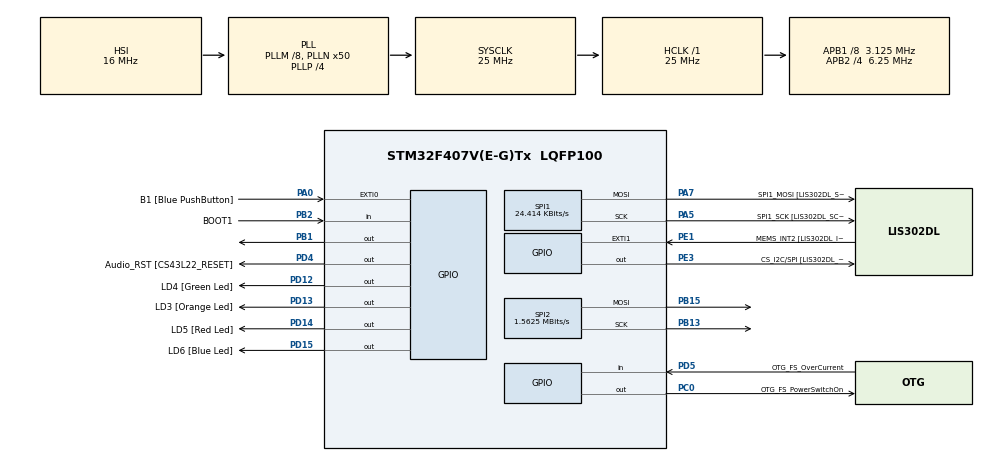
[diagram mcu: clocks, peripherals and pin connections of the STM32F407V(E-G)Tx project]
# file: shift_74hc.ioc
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Mcu.Family=STM32F4
Mcu.Name=STM32F407V(E-G)Tx
Mcu.Package=LQFP100
NVIC.PriorityGroup=NVIC_PRIORITYGROUP_0
NVIC.SPI1_IRQn=true\:0\:0\:false\:false\:true\:true
PA0-WKUP.GPIO_Label=B1 [Blue PushButton]
PA0-WKUP.GPIO_ModeDefaultEXTI=GPIO_MODE_EVT_RISING
PA0-WKUP.GPIO_PuPd=GPIO_NOPULL
PA0-WKUP.Signal=GPXTI0
PA10.GPIO_Label=OTG_FS_ID
PA10.GPIO_Mode=GPIO_MODE_AF_PP
PA10.GPIO_PuPd=GPIO_NOPULL
PA10.GPIO_Speed=GPIO_SPEED_FREQ_LOW
PA10.Signal=USB_OTG_FS_ID
PA11.GPIO_Label=OTG_FS_DM
PA11.GPIO_Mode=GPIO_MODE_AF_PP
PA11.GPIO_PuPd=GPIO_NOPULL
PA11.GPIO_Speed=GPIO_SPEED_FREQ_LOW
PA11.Signal=USB_OTG_FS_DM
PA12.GPIO_Label=OTG_FS_DP
PA12.GPIO_Mode=GPIO_MODE_AF_PP
PA12.GPIO_PuPd=GPIO_NOPULL
PA12.GPIO_Speed=GPIO_SPEED_FREQ_LOW
PA12.Signal=USB_OTG_FS_DP
PA13.GPIO_Label=SWDIO
PA13.Signal=SYS_JTMS-SWDIO
PA14.GPIO_Label=SWCLK
PA14.Signal=SYS_JTCK-SWCLK
PA4.GPIO_Label=I2S3_WS [CS43L22_LRCK]
PA4.GPIO_Mode=GPIO_MODE_AF_PP
PA4.GPIO_PuPd=GPIO_NOPULL
PA4.GPIO_Speed=GPIO_SPEED_FREQ_LOW
PA4.Signal=I2S3_WS
PA5.GPIO_Label=SPI1_SCK [LIS302DL_SCL/SPC]
PA5.GPIO_Mode=GPIO_MODE_AF_PP
PA5.GPIO_PuPd=GPIO_NOPULL
PA5.GPIO_Speed=GPIO_SPEED_FREQ_LOW
PA5.Mode=TX_Only_Simplex_Unidirect_Master
PA5.Signal=SPI1_SCK
PA6.GPIO_Label=SPI1_MISO [LIS302DL_SDO]
PA6.GPIO_Mode=GPIO_MODE_AF_PP
PA6.GPIO_PuPd=GPIO_NOPULL
PA6.GPIO_Speed=GPIO_SPEED_FREQ_LOW
PA6.Signal=SPI1_MISO
PA7.GPIO_Label=SPI1_MOSI [LIS302DL_SDA/SDI/SDO]
PA7.GPIO_Mode=GPIO_MODE_AF_PP
PA7.GPIO_PuPd=GPIO_NOPULL
PA7.GPIO_Speed=GPIO_SPEED_FREQ_LOW
PA7.Mode=TX_Only_Simplex_Unidirect_Master
PA7.Signal=SPI1_MOSI
PA9.GPIO_Label=VBUS_FS
PA9.GPIO_Mode=GPIO_MODE_INPUT
PA9.GPIO_PuPd=GPIO_NOPULL
PA9.Signal=USB_OTG_FS_VBUS
PB1.Signal=GPIO_Output
PB10.GPIO_Label=CLK_IN [MP45DT02_CLK]
PB10.GPIO_Mode=GPIO_MODE_AF_PP
PB10.GPIO_PuPd=GPIO_NOPULL
PB10.GPIO_Speed=GPIO_SPEED_FREQ_LOW
PB10.Signal=I2S2_CK
PB13.Mode=TX_Only_Simplex_Unidirect_Master
PB13.Signal=SPI2_SCK
PB15.Mode=TX_Only_Simplex_Unidirect_Master
PB15.Signal=SPI2_MOSI
PB2.GPIO_Label=BOOT1
PB2.GPIO_Mode=GPIO_MODE_INPUT
PB2.GPIO_PuPd=GPIO_NOPULL
PB2.Signal=GPIO_Input
PB3.GPIO_Label=SWO
PB3.Signal=SYS_JTDO-SWO
PB6.GPIO_Label=Audio_SCL [CS43L22_SCL]
PB6.GPIO_Mode=GPIO_MODE_AF_OD
PB6.GPIO_PuPd=GPIO_NOPULL
PB6.GPIO_Speed=GPIO_SPEED_FREQ_LOW
PB6.Signal=I2C1_SCL
PB9.GPIO_Label=Audio_SDA [CS43L22_SDA]
PB9.GPIO_Mode=GPIO_MODE_AF_OD
PB9.GPIO_PuPd=GPIO_NOPULL
PB9.GPIO_Speed=GPIO_SPEED_FREQ_LOW
PB9.Signal=I2C1_SDA
PC0.GPIO_Label=OTG_FS_PowerSwitchOn
PC0.GPIO_PuPd=GPIO_NOPULL
PC0.GPIO_Speed=GPIO_SPEED_FREQ_LOW
PC0.PinState=GPIO_PIN_SET
PC0.Signal=GPIO_Output
PC10.GPIO_Label=I2S3_SCK [CS43L22_SCLK]
PC10.GPIO_Mode=GPIO_MODE_AF_PP
PC10.GPIO_PuPd=GPIO_NOPULL
PC10.GPIO_Speed=GPIO_SPEED_FREQ_LOW
PC10.Signal=I2S3_CK
PC12.GPIO_Label=I2S3_SD [CS43L22_SDIN]
PC12.GPIO_Mode=GPIO_MODE_AF_PP
PC12.GPIO_PuPd=GPIO_NOPULL
PC12.GPIO_Speed=GPIO_SPEED_FREQ_LOW
PC12.Signal=I2S3_SD
PC14-OSC32_IN.GPIO_Label=PC14-OSC32_IN
PC14-OSC32_IN.Signal=RCC_OSC32_IN
PC15-OSC32_OUT.GPIO_Label=PC15-OSC32_OUT
PC15-OSC32_OUT.Signal=RCC_OSC32_OUT
PC3.GPIO_Label=PDM_OUT [MP45DT02_DOUT]
PC3.GPIO_Mode=GPIO_MODE_AF_PP
PC3.GPIO_PuPd=GPIO_NOPULL
PC3.GPIO_Speed=GPIO_SPEED_FREQ_LOW
PC3.Signal=I2S2_SD
PC7.GPIO_Label=I2S3_MCK [CS43L22_MCLK]
PC7.GPIO_Mode=GPIO_MODE_AF_PP
PC7.GPIO_PuPd=GPIO_NOPULL
PC7.GPIO_Speed=GPIO_SPEED_FREQ_LOW
PC7.Signal=I2S3_MCK
PD12.GPIO_Label=LD4 [Green Led]
PD12.GPIO_PuPd=GPIO_NOPULL
PD12.GPIO_Speed=GPIO_SPEED_FREQ_LOW
PD12.Signal=GPIO_Output
PD13.GPIO_Label=LD3 [Orange Led]
PD13.GPIO_PuPd=GPIO_NOPULL
PD13.GPIO_Speed=GPIO_SPEED_FREQ_LOW
PD13.Signal=GPIO_Output
PD14.GPIO_Label=LD5 [Red Led]
PD14.GPIO_PuPd=GPIO_NOPULL
PD14.GPIO_Speed=GPIO_SPEED_FREQ_LOW
PD14.Signal=GPIO_Output
PD15.GPIO_Label=LD6 [Blue Led]
PD15.GPIO_PuPd=GPIO_NOPULL
PD15.GPIO_Speed=GPIO_SPEED_FREQ_LOW
PD15.Signal=GPIO_Output
PD4.GPIO_Label=Audio_RST [CS43L22_RESET]
PD4.GPIO_PuPd=GPIO_NOPULL
PD4.GPIO_Speed=GPIO_SPEED_FREQ_LOW
PD4.Signal=GPIO_Output
PD5.GPIO_Label=OTG_FS_OverCurrent
PD5.GPIO_Mode=GPIO_MODE_INPUT
PD5.GPIO_PuPd=GPIO_NOPULL
PD5.Signal=GPIO_Input
PE1.GPIO_Label=MEMS_INT2 [LIS302DL_INT2]
PE1.GPIO_ModeDefaultEXTI=GPIO_MODE_EVT_RISING
PE1.GPIO_PuPd=GPIO_NOPULL
PE1.Signal=GPXTI1
PE3.GPIO_Label=CS_I2C/SPI [LIS302DL_CS_I2C/SPI]
PE3.GPIO_PuPd=GPIO_NOPULL
PE3.GPIO_Speed=GPIO_SPEED_FREQ_LOW
PE3.Signal=GPIO_Output
PH0-OSC_IN.GPIO_Label=PH0-OSC_IN
PH0-OSC_IN.Signal=RCC_OSC_IN
PH1-OSC_OUT.GPIO_Label=PH1-OSC_OUT
PH1-OSC_OUT.Signal=RCC_OSC_OUT
ProjectManager.HeapSize=0x200
ProjectManager.StackSize=0x400
ProjectManager.TargetToolchain=MDK-ARM V5
RCC.48MHZClocksFreq_Value=14285714.285714285
RCC.AHBFreq_Value=25000000
RCC.APB1CLKDivider=RCC_HCLK_DIV8
RCC.APB1Freq_Value=3125000
RCC.APB1TimFreq_Value=6250000
RCC.APB2CLKDivider=RCC_HCLK_DIV4
RCC.APB2Freq_Value=6250000
RCC.APB2TimFreq_Value=12500000
RCC.CortexFreq_Value=25000000
RCC.HCLKFreq_Value=25000000
RCC.HSE_VALUE=8000000
RCC.HSI_VALUE=16000000
RCC.LSE_VALUE=32768
RCC.PLLM=8
RCC.PLLN=50
RCC.PLLP=RCC_PLLP_DIV4
RCC.PLLQ=7
RCC.SYSCLKFreq_VALUE=25000000
RCC.SYSCLKSource=RCC_SYSCLKSOURCE_PLLCLK
RCC.VCOOutputFreq_Value=100000000
SPI1.BaudRatePrescaler=SPI_BAUDRATEPRESCALER_256
SPI1.CLKPolarity=SPI_POLARITY_LOW
SPI1.CalculateBaudRate=24.414 KBits/s
SPI1.Direction=SPI_DIRECTION_2LINES
SPI1.Mode=SPI_MODE_MASTER
SPI1.VirtualType=VM_MASTER
SPI2.CalculateBaudRate=1.5625 MBits/s
SPI2.Direction=SPI_DIRECTION_2LINES
SPI2.Mode=SPI_MODE_MASTER
SPI2.VirtualType=VM_MASTER
board=STM32F4DISCOVERY

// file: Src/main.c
/**
  ******************************************************************************
  * File Name          : main.c
  * Description        : Main program body
  ******************************************************************************
  ** This notice applies to any and all portions of this file
  * that are not between comment pairs USER CODE BEGIN and
  * USER CODE END. Other portions of this file, whether
  * inserted by the user or by software development tools
  * are owned by their respective copyright owners.
  *
  * COPYRIGHT(c) 2018 STMicroelectronics
  *
  * Redistribution and use in source and binary forms, with or without modification,
  * are permitted provided that the following conditions are met:
  *   1. Redistributions of source code must retain the above copyright notice,
  *      this list of conditions and the following disclaimer.
  *   2. Redistributions in binary form must reproduce the above copyright notice,
  *      this list of conditions and the following disclaimer in the documentation
  *      and/or other materials provided with the distribution.
  *   3. Neither the name of STMicroelectronics nor the names of its contributors
  *      may be used to endorse or promote products derived from this software
  *      without specific prior written permission.
  *
  * THIS SOFTWARE IS PROVIDED BY THE COPYRIGHT HOLDERS AND CONTRIBUTORS "AS IS"
  * AND ANY EXPRESS OR IMPLIED WARRANTIES, INCLUDING, BUT NOT LIMITED TO, THE
  * IMPLIED WARRANTIES OF MERCHANTABILITY AND FITNESS FOR A PARTICULAR PURPOSE ARE
  * DISCLAIMED. IN NO EVENT SHALL THE COPYRIGHT HOLDER OR CONTRIBUTORS BE LIABLE
  * FOR ANY DIRECT, INDIRECT, INCIDENTAL, SPECIAL, EXEMPLARY, OR CONSEQUENTIAL
  * DAMAGES (INCLUDING, BUT NOT LIMITED TO, PROCUREMENT OF SUBSTITUTE GOODS OR
  * SERVICES; LOSS OF USE, DATA, OR PROFITS; OR BUSINESS INTERRUPTION) HOWEVER
  * CAUSED AND ON ANY THEORY OF LIABILITY, WHETHER IN CONTRACT, STRICT LIABILITY,
  * OR TORT (INCLUDING NEGLIGENCE OR OTHERWISE) ARISING IN ANY WAY OUT OF THE USE
  * OF THIS SOFTWARE, EVEN IF ADVISED OF THE POSSIBILITY OF SUCH DAMAGE.
  *
  ******************************************************************************
  */

#include "main.h"
#include "stm32f4xx_hal.h"

/* USER CODE BEGIN Includes */
#include "binary.h"
/* USER CODE END Includes */

SPI_HandleTypeDef hspi1;
SPI_HandleTypeDef hspi2;

/* USER CODE BEGIN PV */
/* Private variables ---------------------------------------------------------*/

/* USER CODE END PV */

void SystemClock_Config(void);
static void MX_GPIO_Init(void);
static void MX_SPI1_Init(void);
static void MX_SPI2_Init(void);

/* USER CODE BEGIN PFP */
/* Private function prototypes -----------------------------------------------*/
__IO uint8_t flag = 0;
void HAL_SPI_TxCpltCallback(SPI_HandleTypeDef *hspi){

	if(hspi->Instance == SPI1) {
		flag = 1;
		HAL_GPIO_WritePin(GPIOB,GPIO_PIN_1, GPIO_PIN_SET);
	}
}
/* USER CODE END PFP */

/* USER CODE BEGIN 0 */
#define len  15
#define len_shift 15
#define delay_reset 100000
	uint8_t data[len] = {0};
	uint8_t data_shift[len_shift] = {b00000000,
																	 b10000000,
																	 b01000000,
																	 b00100000,
																	 b00010000,
																	 b00001000,
																	 b00000100,
																	 b00000010,
																	 b00000001,
																	 b00000000,
																	 b11111111,
																	 b00000000,
																	 b11111111,
																	 b00000000,
																	 b11111111};
/* USER CODE END 0 */

int main(void)
{

  /* MCU Configuration----------------------------------------------------------*/

  /* Reset of all peripherals, Initializes the Flash interface and the Systick. */
  HAL_Init();

  /* Configure the system clock */
  SystemClock_Config();

  /* Initialize all configured peripherals */
  MX_GPIO_Init();
  MX_SPI1_Init();
  MX_SPI2_Init();

  /* Infinite loop */
  while (1)
  {

  /* USER CODE BEGIN 3 */
		  for(int i=0;;){
				HAL_GPIO_WritePin(GPIOB, GPIO_PIN_1, GPIO_PIN_RESET);
			HAL_SPI_Transmit_IT( &hspi1, &data_shift[10] , 1);
				for(int k;k<delay_reset;k++)
				i++;
				if(i > len-1)
				i = 0;

			while (!flag){;};
			flag = 0;
		}
/*
		for( int i = 0; i<len; i++){

		HAL_SPI_Transmit( &hspi1, &data_shift[i], 1 ,1000);
		HAL_Delay(500);

		}
		*/

  }
  /* USER CODE END 3 */

}

/** System Clock Configuration
*/
void SystemClock_Config(void)
{

  RCC_OscInitTypeDef RCC_OscInitStruct;
  RCC_ClkInitTypeDef RCC_ClkInitStruct;

    /**Configure the main internal regulator output voltage
    */
  __HAL_RCC_PWR_CLK_ENABLE();

  __HAL_PWR_VOLTAGESCALING_CONFIG(PWR_REGULATOR_VOLTAGE_SCALE1);

    /**Initializes the CPU, AHB and APB busses clocks
    */
  RCC_OscInitStruct.OscillatorType = RCC_OSCILLATORTYPE_HSI;
  RCC_OscInitStruct.HSIState = RCC_HSI_ON;
  RCC_OscInitStruct.HSICalibrationValue = 16;
  RCC_OscInitStruct.PLL.PLLState = RCC_PLL_ON;
  RCC_OscInitStruct.PLL.PLLSource = RCC_PLLSOURCE_HSI;
  RCC_OscInitStruct.PLL.PLLM = 8;
  RCC_OscInitStruct.PLL.PLLN = 50;
  RCC_OscInitStruct.PLL.PLLP = RCC_PLLP_DIV4;
  RCC_OscInitStruct.PLL.PLLQ = 7;
  if (HAL_RCC_OscConfig(&RCC_OscInitStruct) != HAL_OK)
  {
    _Error_Handler(__FILE__, __LINE__);
  }

    /**Initializes the CPU, AHB and APB busses clocks
    */
  RCC_ClkInitStruct.ClockType = RCC_CLOCKTYPE_HCLK|RCC_CLOCKTYPE_SYSCLK
                              |RCC_CLOCKTYPE_PCLK1|RCC_CLOCKTYPE_PCLK2;
  RCC_ClkInitStruct.SYSCLKSource = RCC_SYSCLKSOURCE_PLLCLK;
  RCC_ClkInitStruct.AHBCLKDivider = RCC_SYSCLK_DIV1;
  RCC_ClkInitStruct.APB1CLKDivider = RCC_HCLK_DIV8;
  RCC_ClkInitStruct.APB2CLKDivider = RCC_HCLK_DIV4;

  if (HAL_RCC_ClockConfig(&RCC_ClkInitStruct, FLASH_LATENCY_0) != HAL_OK)
  {
    _Error_Handler(__FILE__, __LINE__);
  }

    /**Configure the Systick interrupt time
    */
  HAL_SYSTICK_Config(HAL_RCC_GetHCLKFreq()/1000);

    /**Configure the Systick
    */
  HAL_SYSTICK_CLKSourceConfig(SYSTICK_CLKSOURCE_HCLK);

  /* SysTick_IRQn interrupt configuration */
  HAL_NVIC_SetPriority(SysTick_IRQn, 0, 0);
}

/* SPI1 init function */
static void MX_SPI1_Init(void)
{

  /* SPI1 parameter configuration*/
  hspi1.Instance = SPI1;
  hspi1.Init.Mode = SPI_MODE_MASTER;
  hspi1.Init.Direction = SPI_DIRECTION_2LINES;
  hspi1.Init.DataSize = SPI_DATASIZE_8BIT;
  hspi1.Init.CLKPolarity = SPI_POLARITY_LOW;
  hspi1.Init.CLKPhase = SPI_PHASE_1EDGE;
  hspi1.Init.NSS = SPI_NSS_SOFT;
  hspi1.Init.BaudRatePrescaler = SPI_BAUDRATEPRESCALER_256;
  hspi1.Init.FirstBit = SPI_FIRSTBIT_MSB;
  hspi1.Init.TIMode = SPI_TIMODE_DISABLE;
  hspi1.Init.CRCCalculation = SPI_CRCCALCULATION_DISABLE;
  hspi1.Init.CRCPolynomial = 10;
  if (HAL_SPI_Init(&hspi1) != HAL_OK)
  {
    _Error_Handler(__FILE__, __LINE__);
  }

}

/* SPI2 init function */
static void MX_SPI2_Init(void)
{

  /* SPI2 parameter configuration*/
  hspi2.Instance = SPI2;
  hspi2.Init.Mode = SPI_MODE_MASTER;
  hspi2.Init.Direction = SPI_DIRECTION_2LINES;
  hspi2.Init.DataSize = SPI_DATASIZE_8BIT;
  hspi2.Init.CLKPolarity = SPI_POLARITY_LOW;
  hspi2.Init.CLKPhase = SPI_PHASE_1EDGE;
  hspi2.Init.NSS = SPI_NSS_SOFT;
  hspi2.Init.BaudRatePrescaler = SPI_BAUDRATEPRESCALER_2;
  hspi2.Init.FirstBit = SPI_FIRSTBIT_MSB;
  hspi2.Init.TIMode = SPI_TIMODE_DISABLE;
  hspi2.Init.CRCCalculation = SPI_CRCCALCULATION_DISABLE;
  hspi2.Init.CRCPolynomial = 10;
  if (HAL_SPI_Init(&hspi2) != HAL_OK)
  {
    _Error_Handler(__FILE__, __LINE__);
  }

}

/** Configure pins as
        * Analog
        * Input
        * Output
        * EVENT_OUT
        * EXTI
     PC3   ------> I2S2_SD
     PA4   ------> I2S3_WS
     PB10   ------> I2S2_CK
     PC7   ------> I2S3_MCK
     PA9   ------> USB_OTG_FS_VBUS
     PA10   ------> USB_OTG_FS_ID
     PA11   ------> USB_OTG_FS_DM
     PA12   ------> USB_OTG_FS_DP
     PC10   ------> I2S3_CK
     PC12   ------> I2S3_SD
     PB6   ------> I2C1_SCL
     PB9   ------> I2C1_SDA
*/
static void MX_GPIO_Init(void)
{

  GPIO_InitTypeDef GPIO_InitStruct;

  /* GPIO Ports Clock Enable */
  __HAL_RCC_GPIOE_CLK_ENABLE();
  __HAL_RCC_GPIOC_CLK_ENABLE();
  __HAL_RCC_GPIOH_CLK_ENABLE();
  __HAL_RCC_GPIOA_CLK_ENABLE();
  __HAL_RCC_GPIOB_CLK_ENABLE();
  __HAL_RCC_GPIOD_CLK_ENABLE();

  /*Configure GPIO pin Output Level */
  HAL_GPIO_WritePin(CS_I2C_SPI_GPIO_Port, CS_I2C_SPI_Pin, GPIO_PIN_RESET);

  /*Configure GPIO pin Output Level */
  HAL_GPIO_WritePin(OTG_FS_PowerSwitchOn_GPIO_Port, OTG_FS_PowerSwitchOn_Pin, GPIO_PIN_SET);

  /*Configure GPIO pin Output Level */
  HAL_GPIO_WritePin(GPIOB, GPIO_PIN_1, GPIO_PIN_RESET);

  /*Configure GPIO pin Output Level */
  HAL_GPIO_WritePin(GPIOD, LD4_Pin|LD3_Pin|LD5_Pin|LD6_Pin
                          |Audio_RST_Pin, GPIO_PIN_RESET);

  /*Configure GPIO pin : CS_I2C_SPI_Pin */
  GPIO_InitStruct.Pin = CS_I2C_SPI_Pin;
  GPIO_InitStruct.Mode = GPIO_MODE_OUTPUT_PP;
  GPIO_InitStruct.Pull = GPIO_NOPULL;
  GPIO_InitStruct.Speed = GPIO_SPEED_FREQ_LOW;
  HAL_GPIO_Init(CS_I2C_SPI_GPIO_Port, &GPIO_InitStruct);

  /*Configure GPIO pin : OTG_FS_PowerSwitchOn_Pin */
  GPIO_InitStruct.Pin = OTG_FS_PowerSwitchOn_Pin;
  GPIO_InitStruct.Mode = GPIO_MODE_OUTPUT_PP;
  GPIO_InitStruct.Pull = GPIO_NOPULL;
  GPIO_InitStruct.Speed = GPIO_SPEED_FREQ_LOW;
  HAL_GPIO_Init(OTG_FS_PowerSwitchOn_GPIO_Port, &GPIO_InitStruct);

  /*Configure GPIO pin : PDM_OUT_Pin */
  GPIO_InitStruct.Pin = PDM_OUT_Pin;
  GPIO_InitStruct.Mode = GPIO_MODE_AF_PP;
  GPIO_InitStruct.Pull = GPIO_NOPULL;
  GPIO_InitStruct.Speed = GPIO_SPEED_FREQ_LOW;
  GPIO_InitStruct.Alternate = GPIO_AF5_SPI2;
  HAL_GPIO_Init(PDM_OUT_GPIO_Port, &GPIO_InitStruct);

  /*Configure GPIO pin : B1_Pin */
  GPIO_InitStruct.Pin = B1_Pin;
  GPIO_InitStruct.Mode = GPIO_MODE_EVT_RISING;
  GPIO_InitStruct.Pull = GPIO_NOPULL;
  HAL_GPIO_Init(B1_GPIO_Port, &GPIO_InitStruct);

  /*Configure GPIO pin : I2S3_WS_Pin */
  GPIO_InitStruct.Pin = I2S3_WS_Pin;
  GPIO_InitStruct.Mode = GPIO_MODE_AF_PP;
  GPIO_InitStruct.Pull = GPIO_NOPULL;
  GPIO_InitStruct.Speed = GPIO_SPEED_FREQ_LOW;
  GPIO_InitStruct.Alternate = GPIO_AF6_SPI3;
  HAL_GPIO_Init(I2S3_WS_GPIO_Port, &GPIO_InitStruct);

  /*Configure GPIO pin : PB1 */
  GPIO_InitStruct.Pin = GPIO_PIN_1;
  GPIO_InitStruct.Mode = GPIO_MODE_OUTPUT_PP;
  GPIO_InitStruct.Pull = GPIO_NOPULL;
  GPIO_InitStruct.Speed = GPIO_SPEED_FREQ_LOW;
  HAL_GPIO_Init(GPIOB, &GPIO_InitStruct);

  /*Configure GPIO pin : BOOT1_Pin */
  GPIO_InitStruct.Pin = BOOT1_Pin;
  GPIO_InitStruct.Mode = GPIO_MODE_INPUT;
  GPIO_InitStruct.Pull = GPIO_NOPULL;
  HAL_GPIO_Init(BOOT1_GPIO_Port, &GPIO_InitStruct);

  /*Configure GPIO pin : CLK_IN_Pin */
  GPIO_InitStruct.Pin = CLK_IN_Pin;
  GPIO_InitStruct.Mode = GPIO_MODE_AF_PP;
  GPIO_InitStruct.Pull = GPIO_NOPULL;
  GPIO_InitStruct.Speed = GPIO_SPEED_FREQ_LOW;
  GPIO_InitStruct.Alternate = GPIO_AF5_SPI2;
  HAL_GPIO_Init(CLK_IN_GPIO_Port, &GPIO_InitStruct);

  /*Configure GPIO pins : LD4_Pin LD3_Pin LD5_Pin LD6_Pin
                           Audio_RST_Pin */
  GPIO_InitStruct.Pin = LD4_Pin|LD3_Pin|LD5_Pin|LD6_Pin
                          |Audio_RST_Pin;
  GPIO_InitStruct.Mode = GPIO_MODE_OUTPUT_PP;
  GPIO_InitStruct.Pull = GPIO_NOPULL;
  GPIO_InitStruct.Speed = GPIO_SPEED_FREQ_LOW;
  HAL_GPIO_Init(GPIOD, &GPIO_InitStruct);

  /*Configure GPIO pins : I2S3_MCK_Pin I2S3_SCK_Pin I2S3_SD_Pin */
  GPIO_InitStruct.Pin = I2S3_MCK_Pin|I2S3_SCK_Pin|I2S3_SD_Pin;
  GPIO_InitStruct.Mode = GPIO_MODE_AF_PP;
  GPIO_InitStruct.Pull = GPIO_NOPULL;
  GPIO_InitStruct.Speed = GPIO_SPEED_FREQ_LOW;
  GPIO_InitStruct.Alternate = GPIO_AF6_SPI3;
  HAL_GPIO_Init(GPIOC, &GPIO_InitStruct);

  /*Configure GPIO pin : VBUS_FS_Pin */
  GPIO_InitStruct.Pin = VBUS_FS_Pin;
  GPIO_InitStruct.Mode = GPIO_MODE_INPUT;
  GPIO_InitStruct.Pull = GPIO_NOPULL;
  HAL_GPIO_Init(VBUS_FS_GPIO_Port, &GPIO_InitStruct);

  /*Configure GPIO pins : OTG_FS_ID_Pin OTG_FS_DM_Pin OTG_FS_DP_Pin */
  GPIO_InitStruct.Pin = OTG_FS_ID_Pin|OTG_FS_DM_Pin|OTG_FS_DP_Pin;
  GPIO_InitStruct.Mode = GPIO_MODE_AF_PP;
  GPIO_InitStruct.Pull = GPIO_NOPULL;
  GPIO_InitStruct.Speed = GPIO_SPEED_FREQ_LOW;
  GPIO_InitStruct.Alternate = GPIO_AF10_OTG_FS;
  HAL_GPIO_Init(GPIOA, &GPIO_InitStruct);

  /*Configure GPIO pin : OTG_FS_OverCurrent_Pin */
  GPIO_InitStruct.Pin = OTG_FS_OverCurrent_Pin;
  GPIO_InitStruct.Mode = GPIO_MODE_INPUT;
  GPIO_InitStruct.Pull = GPIO_NOPULL;
  HAL_GPIO_Init(OTG_FS_OverCurrent_GPIO_Port, &GPIO_InitStruct);

  /*Configure GPIO pins : Audio_SCL_Pin Audio_SDA_Pin */
  GPIO_InitStruct.Pin = Audio_SCL_Pin|Audio_SDA_Pin;
  GPIO_InitStruct.Mode = GPIO_MODE_AF_OD;
  GPIO_InitStruct.Pull = GPIO_PULLUP;
  GPIO_InitStruct.Speed = GPIO_SPEED_FREQ_LOW;
  GPIO_InitStruct.Alternate = GPIO_AF4_I2C1;
  HAL_GPIO_Init(GPIOB, &GPIO_InitStruct);

  /*Configure GPIO pin : MEMS_INT2_Pin */
  GPIO_InitStruct.Pin = MEMS_INT2_Pin;
  GPIO_InitStruct.Mode = GPIO_MODE_EVT_RISING;
  GPIO_InitStruct.Pull = GPIO_NOPULL;
  HAL_GPIO_Init(MEMS_INT2_GPIO_Port, &GPIO_InitStruct);

}

void _Error_Handler(char * file, int line)
{
  while(1)
  {
  }
}

/************************ (C) COPYRIGHT STMicroelectronics *****END OF FILE****/
